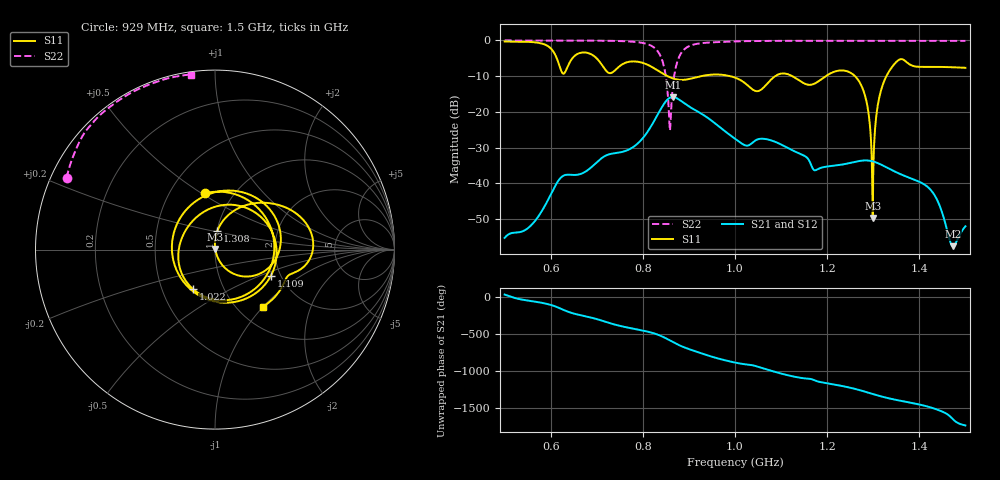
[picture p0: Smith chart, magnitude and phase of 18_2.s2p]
! TOUCHSTONE file generated by CST MICROWAVE STUDIO
! Date and time: Mon Nov 30 09:08:09 2020
! Project name: Scenario_1_Planar_Body_Tissue_Out_of_Line_v2.cst
! Parameters = {dy1=-51.9; L_HA=400; Ltissue=700; MT=2.54; Rad_Dielectric=30; Rad_Lower=7.3; Rad_Upper=30; Wtissue=700; a_HA=580; a_WG=246; b_HA=500; b_WG=121; c_HA=0; c_WG=187; d_feed=85; dx1=346; h_feed=15; h_lower=18; h_upper=40; hfat=3; hgap=25; hmuscle=50; hskin=1.5}
! Header version: 2018
! Port assignment regex: !\s*Touchstone port\s*([0-9]+)\s*=\s*(CST MWS port|CST DS port)\s*([0-9]+|Zmin|Zmax)\s*\(\"(.*)\"\)(\s*mode\s*([0-9]+))?.*
! Touchstone port assignment:
! Touchstone port 1 = CST MWS port 1 ("")
! Touchstone port 2 = CST MWS port 2 ("")
# GHz S DB R 50
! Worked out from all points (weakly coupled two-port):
!   1003 points, 500 MHz to 1.5 GHz, reference 50 ohm
!   highest |S21| = -15.82 dB at 865 MHz (marker M1); lowest = -57.5 dB at 1.473 GHz (marker M2)
!   lowest |S11| = -49.6 dB at 1.299 GHz (marker M3), VSWR 1.01, Z = 50.2 + j0.287 ohm
!   |S11| at or under -10 dB: 853.9 MHz to 926.4 MHz (72.54 MHz wide, 8.15 % of centre); 989.7 MHz to 1.087 GHz (97.4 MHz wide, 9.38 % of centre); 1.124 GHz to 1.197 GHz (72.39 MHz wide, 6.24 % of centre) (the widest 3 of 4)
!   |S22| runs from -25.2 to 0.0 dB; largest |S21 - S12| = 1.5e-05
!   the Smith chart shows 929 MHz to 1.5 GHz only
!   S11 on the Smith chart (normalised r, x): 929 MHz: 0.74, +0.52; 1.022 GHz: 0.72, -0.34; 1.109 GHz: 1.78, -0.59; 1.308 GHz: 1.00, +0.21; 1.5 GHz: 1.30, -0.99
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0.5  -0.29 -121.7  -55.20 35.3  -55.20 35.3  -0.01 151.2
0.667  -3.41 156.8  -37.24 112.0  -37.24 112.0  -0.04 138.4
0.695  -4.46 100.0  -34.66 71.3  -34.66 71.3  -0.06 135.4
0.716  -7.74 26.5  -32.45 32.1  -32.45 32.1  -0.09 132.8
0.74  -8.30 -94.7  -31.51 -13.4  -31.51 -13.4  -0.14 129.2
0.769  -6.00 175.9  -30.54 -55.1  -30.55 -55.1  -0.27 123.3
0.834  -8.54 27.1  -20.32 -152.5  -20.32 -152.5  -3.35 85.2
0.857  -10.19 -36.8  -16.15 138.6  -16.15 138.6  -21.33 9.4
0.865  -10.61 -61.6  -15.82 111.0  -15.82 111.0  -12.97 -133.7
0.929  -9.93 100.1  -20.64 -46.0  -20.64 -46.0  -0.74 154.1
1  -10.40 -59.6  -27.48 -167.1  -27.48 -167.1  -0.27 140.3
1.022  -11.96 -118.6  -29.33 169.7  -29.33 169.7  -0.20 137.5
1.072  -11.80 76.4  -27.71 93.8  -27.71 93.8  -0.14 132.3
1.109  -9.27 -25.3  -29.68 29.4  -29.68 29.4  -0.11 128.9
1.167  -12.34 172.6  -35.35 -33.6  -35.36 -33.6  -0.10 124.2
1.263  -10.35 -22.5  -33.87 -168.2  -33.87 -168.2  -0.08 116.9
1.299  -49.61 60.0  -33.82 126.5  -33.82 126.5  -0.08 114.1
1.308  -19.70 83.1  -34.21 110.0  -34.21 110.0  -0.09 113.5
1.334  -8.73 45.5  -35.83 67.9  -35.83 67.9  -0.09 111.5
1.426  -7.39 -29.8  -41.98 -58.2  -41.98 -58.2  -0.10 104.3
1.473  -7.50 -43.4  -57.52 144.2  -57.52 144.3  -0.12 100.3
1.5  -7.65 -49.9  -51.97 60.1  -51.97 60.1  -0.13 97.9
